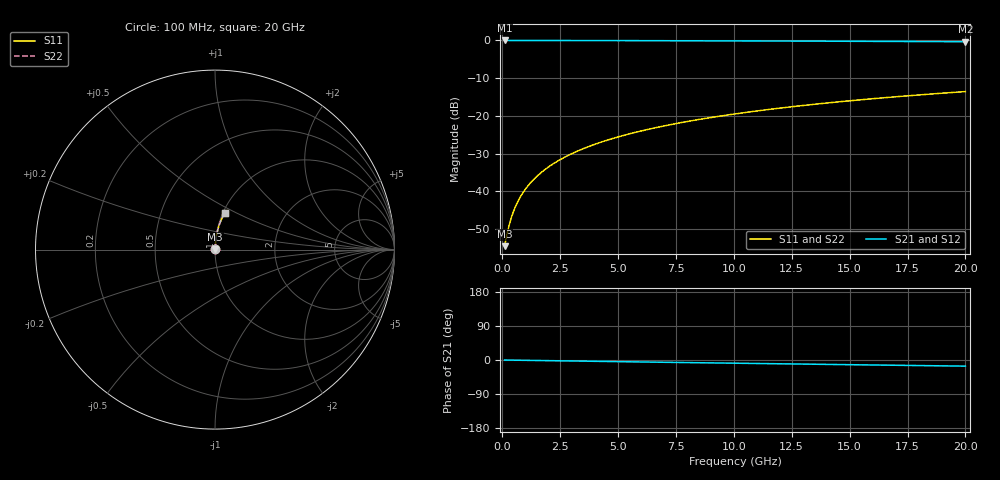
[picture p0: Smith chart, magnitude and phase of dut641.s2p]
! Touchstone file exported from HFSS 2024.1.0
!  File:  C:/UserFiles/LocalFiles/RDL_TSV_Batchsim/temp_RDL_top_641_1779780965.aedt
!  Generated:  03:38:38 PM May 26, 2026
!  Design:  RDL_top
!  Project:  temp_RDL_top_641_1779780965
!  Setup:  Setup1
!  Solution:  Sweep
! Variables:
!  dtsv = 10.80580581um
!  hbump = 3um
!  htsv = 65.06um
!  ldown = 100um
!  lrdl = 180.86um
!  p = 40
!  p1 = 43.35um
!  rhole = 1um
!  t = 450um
!  tdown = 3.915915916um
!  trdl = 3.94um
!  wdown = 15.38538539um
!  wrdl = 11.68um
# GHz S MA R 50.000000
! Terminal data exported
! Port[1] = Box2_T1
! Port[2] = Box2_T2
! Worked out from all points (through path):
!   200 points, 100 MHz to 20 GHz, reference 50 ohm
!   highest |S21| = -0.01 dB at 100 MHz (marker M1); lowest = -0.3 dB at 20 GHz (marker M2)
!   group delay of S21, straight-line fit = 2.24 ps
!   lowest |S11| = -54.6 dB at 100 MHz (marker M3), VSWR 1.00, Z = 50.2 + j0.109 ohm
!   |S11| at or under -10 dB: start of sweep to end of sweep
!   |S22| runs from -54.6 to -13.6 dB; largest |S21 - S12| = 3.3e-15
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0.1  0.001872 35.4  0.9985 -0.1  0.9985 -0.1  0.001872 35.4
! Gamma 0 0 0 0
! Port Impedance 50 0 50 0
0.2  0.002661 54.4  0.9984 -0.2  0.9984 -0.2  0.002661 54.4
0.3  0.003595 63.9  0.9984 -0.3  0.9984 -0.3  0.003595 63.9
0.4  0.004579 69.3  0.9984 -0.4  0.9984 -0.4  0.004579 69.3
0.5  0.005581 72.8  0.9983 -0.4  0.9983 -0.4  0.005581 72.8
0.6  0.006594 75.2  0.9983 -0.5  0.9983 -0.5  0.006594 75.2
0.8  0.008634 78.4  0.9982 -0.7  0.9982 -0.7  0.008634 78.4
1.1  0.01172 81.0  0.9981 -1.0  0.9981 -1.0  0.01172 81.0
1.5  0.01586 82.9  0.9979 -1.3  0.9979 -1.3  0.01586 82.9
1.8  0.01898 83.7  0.9977 -1.6  0.9977 -1.6  0.01898 83.7
2.1  0.02211 84.3  0.9975 -1.8  0.9975 -1.8  0.02211 84.3
2.7  0.02837 84.9  0.997 -2.4  0.997 -2.4  0.02837 84.9
3.5  0.03675 85.1  0.9962 -3.1  0.9962 -3.1  0.03675 85.1
4.2  0.04411 85.2  0.9953 -3.7  0.9953 -3.7  0.04411 85.2
5  0.05253 85.0  0.9942 -4.3  0.9942 -4.3  0.05253 85.0
5.9  0.06203 84.7  0.9928 -5.1  0.9928 -5.1  0.06203 84.7
6.8  0.07155 84.3  0.9913 -5.9  0.9913 -5.9  0.07155 84.3
8.3  0.08747 83.5  0.9885 -7.1  0.9885 -7.1  0.08747 83.5
10.1  0.1066 82.4  0.9849 -8.5  0.9849 -8.5  0.1066 82.4
13.4  0.1415 80.1  0.9777 -11.1  0.9777 -11.1  0.1415 80.1
16.7  0.176 77.7  0.9699 -13.7  0.9699 -13.7  0.176 77.7
20  0.2098 75.2  0.9614 -16.2  0.9614 -16.2  0.2098 75.2
